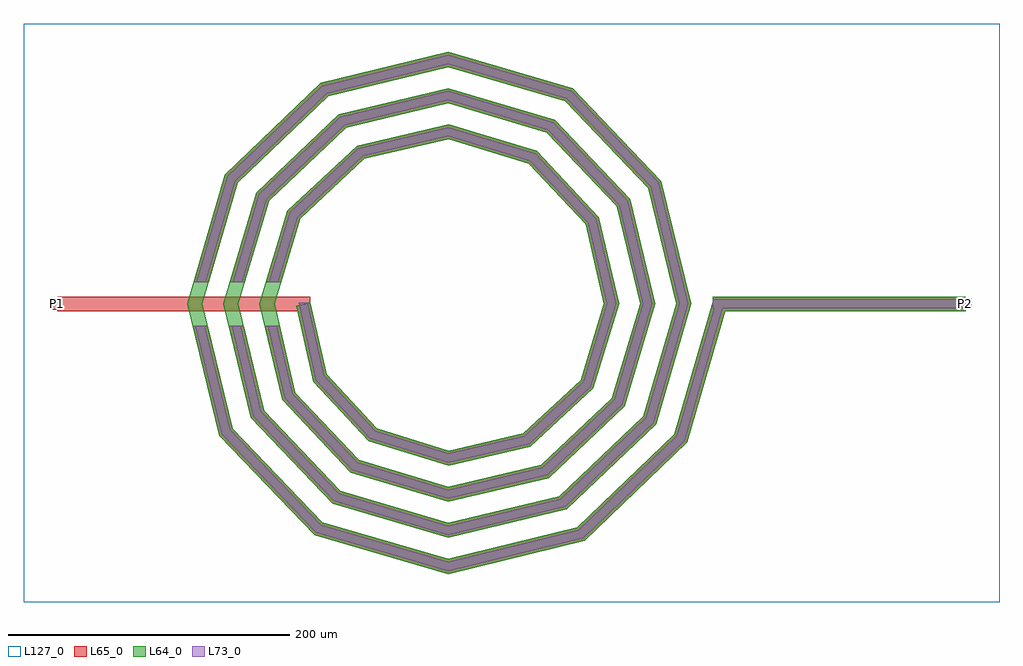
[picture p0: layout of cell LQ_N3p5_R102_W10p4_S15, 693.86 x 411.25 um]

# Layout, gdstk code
import gdstk
lib = gdstk.Library(unit=1e-6, precision=1e-09)
def R(c, l, rs):  # rectangles x0, y0, x1, y1
    for r in rs: c.add(gdstk.rectangle(r[:2], r[2:], *l))
def P(c, l, *ps):  # polygons
    for p in ps: c.add(gdstk.Polygon(p, *l))
L64_0 = (64, 0)
L65_0 = (65, 0)
L73_0 = (73, 0)
L127_0 = (127, 0)

lq_n3p5_r102_w10p4_s15 = lib.new_cell('LQ_N3p5_R102_W10p4_S15')
R(lq_n3p5_r102_w10p4_s15, L64_0, [(187.889,-5.2,367.889,5.2)])
P(lq_n3p5_r102_w10p4_s15, L64_0, [(-86.44,-50.142),(-50.862,-88.496),(0.196,-104.212),(53.343,-92.008),(94.053,-54.083),(110.635,0.185),(97.576,56.545),(57.303,99.61),(0.176,117.057),(-59.749,103.142),(-105.167,60.522),(-123.48,0.167),(-108.709,-62.952),(-63.741,-110.725),(0.159,-129.902),(66.157,-114.275),(116.284,-66.959),(136.325,0.152),(119.84,69.362),(70.176,121.843),(0.145,142.748),(-72.568,125.406),(-127.402,73.393),(-149.17,0.139),(-130.971,-75.774),(-76.609,-132.961),(0.134,-155.593),(78.981,-136.536),(138.521,-79.825),(162.016,0.128),(142.1,82.188),(83.04,144.081),(0.124,168.439),(-85.396,147.665),(-149.641,86.256),(-174.861,0.119),(-153.229,-88.603),(-89.471,-155.201),(0.115,-181.284),(91.811,-158.794),(160.761,-92.685),(188.095,1.45),(198.083,-1.45),(169.971,-98.263),(96.996,-168.23),(0.115,-192.049),(-95.055,-164.407),(-162.67,-93.781),(-185.626,0.119),(-158.842,91.847),(-90.566,157.11),(0.124,179.203),(88.639,153.278),(151.55,87.351),(172.78,0.128),(147.713,-85.432),(84.135,-145.99),(0.134,-166.357),(-82.225,-142.148),(-140.43,-80.919),(-159.934,0.139),(-136.582,79.019),(-77.702,134.87),(0.145,153.511),(75.813,131.017),(129.311,74.485),(147.088,0.152),(125.451,-72.607),(71.268,-123.752),(0.159,-140.665),(-69.402,-119.885),(-118.193,-68.05),(-134.242,0.167),(-114.318,66.198),(-64.831,112.635),(0.176,127.819),(62.994,108.751),(107.077,61.611),(121.396,0.185),(103.183,-59.791),(58.39,-101.52),(0.196,-114.973),(-56.589,-97.615),(-95.963,-55.169),(-108.24,-1.153),(-98.099,1.153)])
R(lq_n3p5_r102_w10p4_s15, L65_0, [(-277.97,-5.2,-97.97,5.2), (187.889,-5.2,367.889,5.2), (-281.97,-4,-273.97,4), (363.889,-4,371.889,4)])
P(lq_n3p5_r102_w10p4_s15, L65_0, [(-153.229,-88.603),(-89.471,-155.201),(0.115,-181.284),(91.811,-158.794),(160.761,-92.685),(188.096,1.45),(198.083,-1.45),(169.971,-98.263),(96.996,-168.23),(0.115,-192.049),(-95.055,-164.407),(-162.67,-93.781),(-181.783,-15.6),(-171.077,-15.6)],
  [(-130.971,-75.775),(-76.609,-132.961),(0.134,-155.593),(78.981,-136.536),(138.521,-79.825),(162.016,0.129),(142.101,82.188),(83.04,144.081),(0.124,168.439),(-85.396,147.665),(-149.641,86.256),(-170.271,15.6),(-181.106,15.6),(-158.842,91.847),(-90.566,157.11),(0.124,179.203),(88.64,153.278),(151.55,87.351),(172.78,0.129),(147.713,-85.432),(84.135,-145.99),(0.134,-166.357),(-82.225,-142.148),(-140.43,-80.919),(-156.147,-15.6),(-145.45,-15.6)],
  [(-108.709,-62.953),(-63.741,-110.726),(0.159,-129.902),(66.157,-114.275),(116.284,-66.959),(136.325,0.152),(119.84,69.362),(70.176,121.843),(0.145,142.748),(-72.568,125.406),(-127.402,73.393),(-144.511,15.6),(-155.357,15.6),(-136.582,79.019),(-77.702,134.87),(0.145,153.511),(75.813,131.017),(129.311,74.485),(147.088,0.152),(125.451,-72.607),(71.268,-123.752),(0.159,-140.665),(-69.402,-119.885),(-118.193,-68.05),(-130.533,-15.6),(-119.849,-15.6)],
  [(-50.862,-88.496),(0.196,-104.212),(53.343,-92.008),(94.053,-54.083),(110.635,0.185),(97.576,56.545),(57.303,99.61),(0.176,117.057),(-59.749,103.142),(-105.167,60.523),(-118.722,15.6),(-129.585,15.6),(-114.318,66.198),(-64.831,112.635),(0.176,127.819),(62.994,108.751),(107.077,61.611),(121.396,0.185),(103.184,-59.791),(58.39,-101.52),(0.196,-114.973),(-56.589,-97.615),(-95.963,-55.169),(-108.24,-1.153),(-98.099,1.153),(-86.44,-50.142)])
R(lq_n3p5_r102_w10p4_s15, L73_0, [(187.889,-3.2,367.889,3.2)])
P(lq_n3p5_r102_w10p4_s15, L73_0, [(-155.045,-89.599),(-90.545,-156.971),(0.071,-183.354),(92.808,-160.608),(162.532,-93.758),(190.016,0.892),(196.162,0.892),(168.2,-97.19),(95.999,-166.416),(0.071,-189.979),(-93.981,-162.636),(-160.854,-92.786),(-179.724,-15.6),(-173.136,-15.6)],
  [(-132.79,-76.764),(-77.689,-134.728),(0.082,-157.663),(79.972,-138.354),(140.289,-80.903),(164.086,0.079),(143.918,83.181),(84.117,145.849),(0.076,170.509),(-86.39,149.481),(-151.41,87.331),(-172.355,15.6),(-179.022,15.6),(-157.073,90.772),(-89.572,155.293),(0.076,177.133),(87.563,151.509),(149.732,86.358),(170.71,0.079),(145.945,-84.354),(83.144,-144.172),(0.082,-164.287),(-81.145,-140.381),(-138.611,-79.93),(-154.09,-15.6),(-147.507,-15.6)],
  [(-110.533,-63.933),(-64.83,-112.487),(0.098,-131.972),(67.14,-116.097),(118.047,-68.045),(138.395,0.093),(121.662,70.348),(71.26,123.607),(0.089,144.818),(-73.556,127.226),(-129.167,74.475),(-146.597,15.6),(-153.271,15.6),(-134.817,77.937),(-76.715,133.05),(0.089,151.441),(74.729,129.253),(127.49,73.5),(145.018,0.093),(123.688,-71.521),(70.285,-121.93),(0.098,-138.596),(-68.313,-118.123),(-116.369,-67.069),(-128.478,-15.6),(-121.904,-15.6)],
  [(-51.964,-90.25),(0.121,-106.282),(54.314,-93.837),(95.809,-55.181),(112.704,0.114),(99.403,57.52),(58.398,101.368),(0.108,119.127),(-60.726,104.968),(-106.927,61.614),(-120.811,15.6),(-127.496,15.6),(-112.558,65.106),(-63.853,110.81),(0.108,125.75),(61.9,106.993),(105.25,60.637),(119.327,0.114),(101.428,-58.693),(57.42,-99.691),(0.121,-112.904),(-55.488,-95.862),(-94.132,-54.202),(-106.29,0.709),(-100.049,0.709),(-88.272,-51.109)])
R(lq_n3p5_r102_w10p4_s15, L127_0, [(-301.97,-212.049,391.889,199.203)])
lq_n3p5_r102_w10p4_s15.add(gdstk.Label('P2', (367.889,0), layer=65, texttype=0))
lq_n3p5_r102_w10p4_s15.add(gdstk.Label('P1', (-277.97,0), layer=65, texttype=0))
lq_n3p5_r102_w10p4_s15.add(gdstk.Label('P2', (371.889,0), layer=145, texttype=0))
lq_n3p5_r102_w10p4_s15.add(gdstk.Label('P1', (-281.97,0), layer=145, texttype=0))

lib.write_gds('LQ_N3p5_R102_W10p4_S15.gds')
